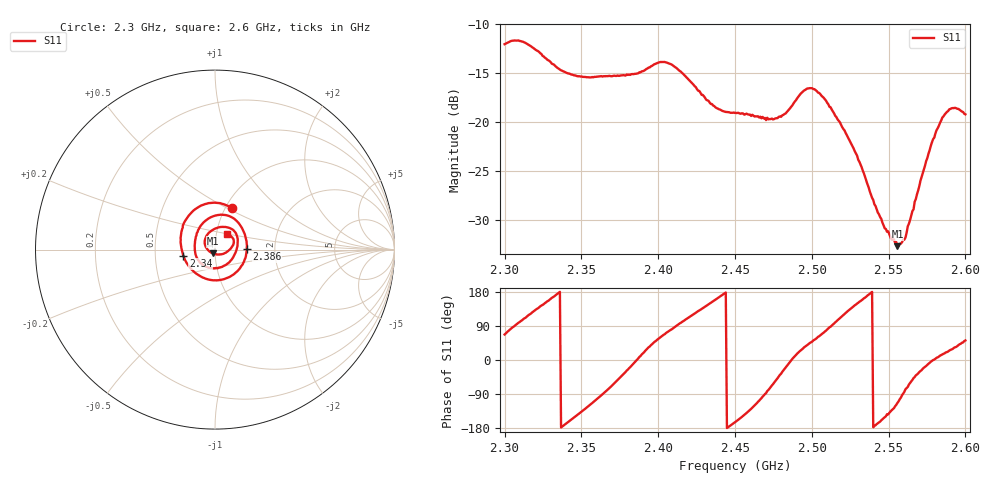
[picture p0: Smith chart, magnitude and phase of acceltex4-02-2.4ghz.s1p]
! NanoVNA-App
! Date: 2026-05-22 19:58:13
! Start: 2.3GHz Stop: 2.6GHz Points: 401
! S-Parameter data: F S11
# Hz S RI R 50
!  Frequency  S11_Real  S11_Imag
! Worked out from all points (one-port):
!   401 points, 2.3 GHz to 2.6 GHz, reference 50 ohm
!   lowest |S11| = -32.7 dB at 2.556 GHz (marker M1), VSWR 1.05, Z = 49.1 - j2.08 ohm
!   |S11| at or under -10 dB: start of sweep to end of sweep
!   S11 on the Smith chart (normalised r, x): 2.3 GHz: 1.08, +0.53; 2.34 GHz: 0.70, -0.05; 2.386 GHz: 1.43, +0.01; 2.6 GHz: 1.13, +0.20
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2.3e9  0.0964 0.2309
2.309e9  -0.0376 0.2588
2.3195e9  -0.1524 0.1808
2.3375e9  -0.1823 -0.0141
2.33975e9  -0.1759 -0.0353
2.36e9  -0.0396 -0.166
2.375e9  0.1178 -0.1259
2.38625e9  0.1769 0.00215
2.4005e9  0.1101 0.1695
2.4125e9  -0.00667 0.187
2.42825e9  -0.0972 0.0975
2.43875e9  -0.1122 0.0336
2.45e9  -0.107 -0.0305
2.4695e9  0.000273 -0.1048
2.4785e9  0.0771 -0.0731
2.4875e9  0.1219 0.008
2.49575e9  0.1187 0.085
2.50175e9  0.0878 0.1181
2.51075e9  0.0148 0.1223
2.525e9  -0.0552 0.0566
2.546e9  -0.0279 -0.0122
2.55575e9  -0.0091 -0.0212
2.5595e9  0.000714 -0.025
2.5625e9  0.00956 -0.0276
2.5775e9  0.0753 -0.00593
2.58425e9  0.0991 0.0232
2.591e9  0.1039 0.0549
2.6e9  0.0679 0.0858
